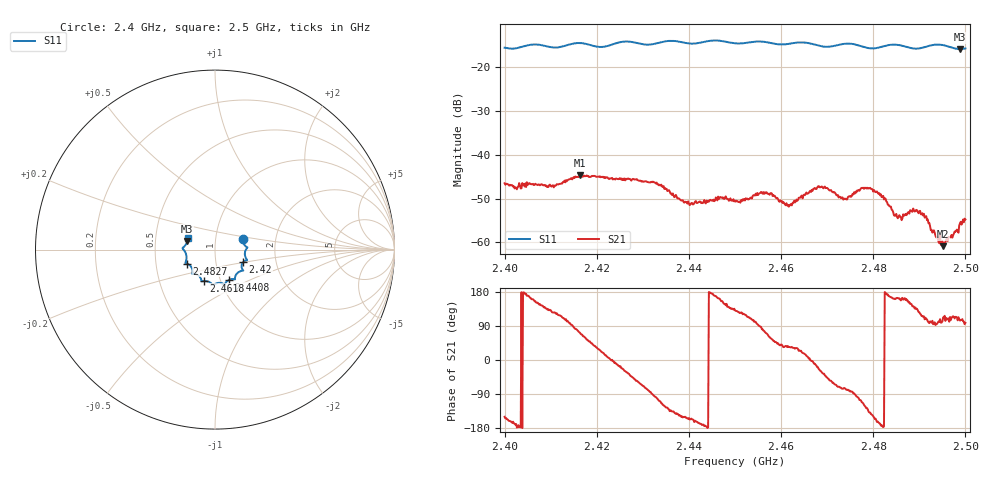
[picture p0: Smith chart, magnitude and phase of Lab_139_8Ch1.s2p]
# Hz S RI R 50
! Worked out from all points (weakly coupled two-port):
!   601 points, 2.4 GHz to 2.5 GHz, reference 50 ohm
!   highest |S21| = -44.70 dB at 2.4163 GHz (marker M1); lowest = -60.9 dB at 2.4952 GHz (marker M2)
!   lowest |S11| = -15.9 dB at 2.4988 GHz (marker M3), VSWR 1.38, Z = 36.5 + j3.4 ohm
!   |S11| at or under -10 dB: start of sweep to end of sweep
!   S12 and S22 are empty: the file has one direction only
!   S11 on the Smith chart (normalised r, x): 2.4 GHz: 1.36, +0.17; 2.42 GHz: 1.36, -0.19; 2.4408 GHz: 1.10, -0.38; 2.4618 GHz: 0.84, -0.30; 2.4827 GHz: 0.72, -0.12; 2.5 GHz: 0.73, +0.09
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2.4e9  0.1553 0.0615  -0.0041 -0.00238  0 0  0 0
2.4105e9  0.1675 -0.0117  -0.0026 0.00366  0 0  0 0
2.416333e9  0.1794 -0.0588  0.00178 0.00554  0 0  0 0
2.416667e9  0.1787 -0.0589  0.00217 0.00523  0 0  0 0
2.42e9  0.1571 -0.0692  0.00472 0.00303  0 0  0 0
2.433333e9  0.112 -0.1527  -0.00117 -0.00446  0 0  0 0
2.440833e9  0.0782 -0.1687  -0.0025 -0.00105  0 0  0 0
2.45e9  0.0273 -0.1852  -0.00198 0.00225  0 0  0 0
2.456333e9  -0.0148 -0.1942  0.000824 0.00349  0 0  0 0
2.461833e9  -0.0609 -0.1751  0.00222 0.00152  0 0  0 0
2.466667e9  -0.0763 -0.1682  0.00397 -0.0002  0 0  0 0
2.469833e9  -0.094 -0.1427  0.00296 -0.00295  0 0  0 0
2.473833e9  -0.1254 -0.136  0.000828 -0.00303  0 0  0 0
2.478833e9  -0.1277 -0.1052  -0.0027 -0.00311  0 0  0 0
2.482667e9  -0.1577 -0.0776  -0.00316 0.000153  0 0  0 0
2.483333e9  -0.1617 -0.0764  -0.00263 0.000525  0 0  0 0
2.485667e9  -0.1638 -0.0708  -0.00195 0.000608  0 0  0 0
2.4885e9  -0.1586 -0.0426  -0.00176 0.00139  0 0  0 0
2.4905e9  -0.1648 -0.0155  -0.000921 0.00188  0 0  0 0
2.495167e9  -0.1783 0.0113  -0.000346 0.000837  0 0  0 0
2.498833e9  -0.1541 0.0454  -0.000401 0.00161  0 0  0 0
2.5e9  -0.1512 0.0629  -0.000253 0.00181  0 0  0 0
